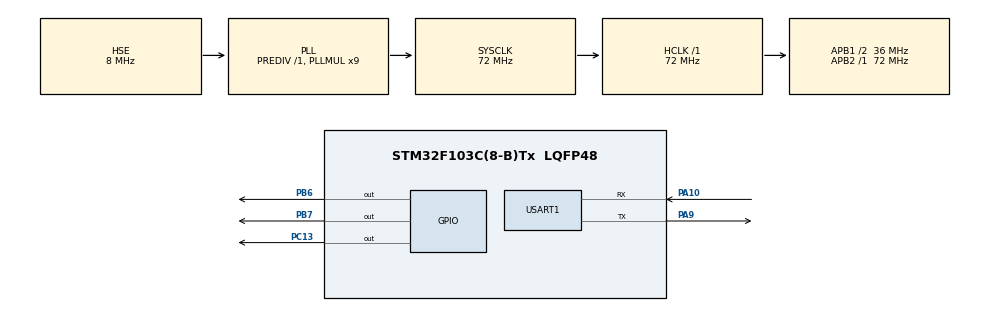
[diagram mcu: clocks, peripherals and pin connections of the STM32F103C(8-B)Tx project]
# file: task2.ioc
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Dma.Request0=USART1_RX
Dma.Request1=USART1_TX
Dma.USART1_RX.0.Direction=DMA_PERIPH_TO_MEMORY
Dma.USART1_RX.0.Instance=DMA1_Channel5
Dma.USART1_RX.0.MemDataAlignment=DMA_MDATAALIGN_BYTE
Dma.USART1_RX.0.MemInc=DMA_MINC_ENABLE
Dma.USART1_RX.0.Mode=DMA_NORMAL
Dma.USART1_RX.0.PeriphDataAlignment=DMA_PDATAALIGN_BYTE
Dma.USART1_RX.0.PeriphInc=DMA_PINC_DISABLE
Dma.USART1_RX.0.Priority=DMA_PRIORITY_LOW
Dma.USART1_TX.1.Direction=DMA_MEMORY_TO_PERIPH
Dma.USART1_TX.1.Instance=DMA1_Channel4
Dma.USART1_TX.1.MemDataAlignment=DMA_MDATAALIGN_BYTE
Dma.USART1_TX.1.MemInc=DMA_MINC_ENABLE
Dma.USART1_TX.1.Mode=DMA_NORMAL
Dma.USART1_TX.1.PeriphDataAlignment=DMA_PDATAALIGN_BYTE
Dma.USART1_TX.1.PeriphInc=DMA_PINC_DISABLE
Dma.USART1_TX.1.Priority=DMA_PRIORITY_LOW
FREERTOS.Queues01=usartsend,5,usart_datatosend,0,Dynamic,NULL,NULL
FREERTOS.Tasks01=usart1send,25,256,Startusart1sendTask,Default,NULL,Dynamic,NULL,NULL;mpu6050read,32,256,Startmpu6050readTask,Default,NULL,Dynamic,NULL,NULL;usart1receive,36,256,Startusart1receiveTask,Default,NULL,Dynamic,NULL,NULL
FREERTOS.configTOTAL_HEAP_SIZE=8192
Mcu.Family=STM32F1
Mcu.Name=STM32F103C(8-B)Tx
Mcu.Package=LQFP48
NVIC.DMA1_Channel4_IRQn=true\:5\:0\:false\:false\:true\:true\:false\:true
NVIC.DMA1_Channel5_IRQn=true\:5\:0\:false\:false\:true\:true\:false\:true
NVIC.PriorityGroup=NVIC_PRIORITYGROUP_4
NVIC.TIM4_IRQn=true\:15\:0\:false\:false\:true\:false\:false\:true
NVIC.TimeBase=TIM4_IRQn
NVIC.TimeBaseIP=TIM4
NVIC.USART1_IRQn=true\:5\:0\:false\:false\:true\:true\:true\:true
PA10.Mode=Asynchronous
PA10.Signal=USART1_RX
PA13.Mode=Serial_Wire
PA13.Signal=SYS_JTMS-SWDIO
PA14.Mode=Serial_Wire
PA14.Signal=SYS_JTCK-SWCLK
PA9.Mode=Asynchronous
PA9.Signal=USART1_TX
PB6.GPIO_ModeDefaultOutputPP=GPIO_MODE_OUTPUT_OD
PB6.GPIO_PuPd=GPIO_PULLUP
PB6.Signal=GPIO_Output
PB7.GPIO_ModeDefaultOutputPP=GPIO_MODE_OUTPUT_OD
PB7.GPIO_PuPd=GPIO_PULLUP
PB7.Signal=GPIO_Output
PC13-TAMPER-RTC.Signal=GPIO_Output
PC14-OSC32_IN.Mode=LSE-External-Oscillator
PC14-OSC32_IN.Signal=RCC_OSC32_IN
PC15-OSC32_OUT.Mode=LSE-External-Oscillator
PC15-OSC32_OUT.Signal=RCC_OSC32_OUT
PD0-OSC_IN.Mode=HSE-External-Oscillator
PD0-OSC_IN.Signal=RCC_OSC_IN
PD1-OSC_OUT.Mode=HSE-External-Oscillator
PD1-OSC_OUT.Signal=RCC_OSC_OUT
ProjectManager.HeapSize=0x200
ProjectManager.StackSize=0x400
ProjectManager.TargetToolchain=MDK-ARM V5.32
RCC.AHBFreq_Value=72000000
RCC.APB1CLKDivider=RCC_HCLK_DIV2
RCC.APB1Freq_Value=36000000
RCC.APB1TimFreq_Value=72000000
RCC.APB2Freq_Value=72000000
RCC.APB2TimFreq_Value=72000000
RCC.HCLKFreq_Value=72000000
RCC.PLLMUL=RCC_PLL_MUL9
RCC.PLLSourceVirtual=RCC_PLLSOURCE_HSE
RCC.SYSCLKFreq_VALUE=72000000
RCC.SYSCLKSource=RCC_SYSCLKSOURCE_PLLCLK
RCC.USBFreq_Value=72000000
USART1.VirtualMode=VM_ASYNC
VP_FREERTOS_VS_CMSIS_V2.Mode=CMSIS_V2
VP_SYS_VS_tim4.Mode=TIM4
board=custom

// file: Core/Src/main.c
/* USER CODE BEGIN Header */
/**
  ******************************************************************************
  * @file           : main.c
  * @brief          : Main program body
  ******************************************************************************
  * @attention
  *
  * <h2><center>&copy; Copyright (c) 2026 STMicroelectronics.
  * All rights reserved.</center></h2>
  *
  * This software component is licensed by ST under Ultimate Liberty license
  * SLA0044, the "License"; You may not use this file except in compliance with
  * the License. You may obtain a copy of the License at:
  *                             www.st.com/SLA0044
  *
  ******************************************************************************
  */
/* USER CODE END Header */
#include "main.h"
#include "cmsis_os.h"

/* USER CODE BEGIN Includes */
#include <string.h>
#include <math.h>
#include "inv_mpu.h"
#include "inv_mpu_dmp_motion_driver.h"
#include "sw_i2c.h"
#include <stdio.h>
/* ============================ USART1 收发逻辑（自 task1 迁移） ============================
 * 不定长接收 + DMA 发送，数据流：
 *   接收：DMA 收数据到缓冲池 → IDLE 中断收尾（算帧长 / 入队 / 切缓冲区）
 *         → 队列 usart1_receive_data 传缓冲区编号 → usart1receive 任务取数处理
 *   发送：usart1send 任务格式化 → DMA 发送（二值信号量 uart_tx_sem 防重入，
 *         TxCplt 回调释放）
 * ========================================================================================= */
/* USER CODE END Includes */

/* USER CODE BEGIN PTD */

/* 串口发送数据类型：mpu_pry=欧拉角，mpu_xyz=原始六轴 */
typedef enum {mpu_pry,mpu_xyz} usart_data_type ;

/* 欧拉角（单位：度） */
typedef struct
{
float pitch;
float roll;
float yaw;
} mpu6050_pry;

/* 六轴原始数据（陀螺仪 / 加速度计输出） */
typedef struct
{
short gyro[3];
short accel[3];
} mpu6050_xyz;

/* 串口待发送数据：type 决定联合体中装 xyz 还是 pry */
typedef struct
{
  usart_data_type type;
union
{
  mpu6050_xyz xyz;
  mpu6050_pry pry;
}data;

}usart_datatosend;

/* 串口命令类型（与 command_table 中的表项对应） */
typedef enum {mpu_mode_set} usart_command_type ;

/* 解析后的命令：命令类型 + 最多 2 个 int 参数 */
typedef struct
{
  usart_command_type type;
  int data[2];
}command;

/* USER CODE END PTD */

UART_HandleTypeDef huart1;
DMA_HandleTypeDef hdma_usart1_rx;
DMA_HandleTypeDef hdma_usart1_tx;

/* Definitions for usart1send */
osThreadId_t usart1sendHandle;
const osThreadAttr_t usart1send_attributes = {
  .name = "usart1send",
  .stack_size = 256 * 4,
  .priority = (osPriority_t) osPriorityNormal1,
};
/* Definitions for mpu6050read */
osThreadId_t mpu6050readHandle;
const osThreadAttr_t mpu6050read_attributes = {
  .name = "mpu6050read",
  .stack_size = 256 * 4,
  .priority = (osPriority_t) osPriorityAboveNormal,
};
/* Definitions for usart1receive */
osThreadId_t usart1receiveHandle;
const osThreadAttr_t usart1receive_attributes = {
  .name = "usart1receive",
  .stack_size = 256 * 4,
  .priority = (osPriority_t) osPriorityAboveNormal4,
};
/* Definitions for usartsend */
osMessageQueueId_t usartsendHandle;
const osMessageQueueAttr_t usartsend_attributes = {
  .name = "usartsend"
};
/* USER CODE BEGIN PV */

/*==================== USART1 DMA 接收缓冲池（自 task1 迁移） ====================*/
/* 环形缓冲池：5 个缓冲区轮流使用，DMA 写入其中一格，IDLE 中断收到一帧后
 * 切换到下一格，避免 DMA 覆盖任务尚未读完的数据 */
uint8_t usart1_receive_pool[5][33]={0};   // 接收缓冲池（每格 32 字节 + 1 字节余量）
uint8_t usart1_receive_len[5]={0};        // 各格本次实际接收的帧长（字节）
uint8_t usart1_receive_pool_idx=0;        // 当前 DMA 正在写入的格编号（0~4 环形递增）

/*==================== 队列 / 信号量句柄（在 main 中创建） ====================*/
/* IDLE 中断 → usart1receive：传递缓冲区编号（索引而非数据本体） */
osMessageQueueId_t usart1_receive_dataHandle;
/* UART 发送同步信号量：usart1send 发送前 acquire，DMA 发送完成中断里 release，
 * 保证同一时刻只有一次 DMA 发送在进行，防止新数据覆盖尚未发完的旧数据 */
osSemaphoreId_t uart_tx_sem;

volatile char mpu_usart_sendmode=0;// 0:发送原始数据 1:发送欧拉角
/* USER CODE END PV */

void SystemClock_Config(void);
static void MX_GPIO_Init(void);
static void MX_DMA_Init(void);
static void MX_USART1_UART_Init(void);
void Startusart1sendTask(void *argument);
void Startmpu6050readTask(void *argument);
void Startusart1receiveTask(void *argument);

int main(void)
{

  /* MCU Configuration--------------------------------------------------------*/

  /* Reset of all peripherals, Initializes the Flash interface and the Systick. */
  HAL_Init();

  /* Configure the system clock */
  SystemClock_Config();

  /* Initialize all configured peripherals */
  MX_GPIO_Init();
  MX_DMA_Init();
  MX_USART1_UART_Init();

  /* Init scheduler */
  osKernelInitialize();

  /* USER CODE BEGIN RTOS_SEMAPHORES */
  /* add semaphores, ... */
  /* 创建 UART 发送完成信号量：max=1、初值=1（二值信号量）
   * 用于 usart1send 任务与 DMA 发送完成中断之间的同步 */
  uart_tx_sem = osSemaphoreNew(1, 1, NULL);
  /* USER CODE END RTOS_SEMAPHORES */

  /* Create the queue(s) */
  /* creation of usartsend */
  usartsendHandle = osMessageQueueNew (5, sizeof(usart_datatosend), &usartsend_attributes);

  /* USER CODE BEGIN RTOS_QUEUES */
  /* add queues, ... */
  /* IDLE 中断 → usart1receive：传缓冲区编号（uint8_t，深度 3）
   * 队列满时非阻塞 put 直接丢帧，不阻塞 DMA 接收 */
  usart1_receive_dataHandle = osMessageQueueNew(3, sizeof(uint8_t), NULL);
  /* USER CODE END RTOS_QUEUES */

  /* Create the thread(s) */
  /* creation of usart1send */
  usart1sendHandle = osThreadNew(Startusart1sendTask, NULL, &usart1send_attributes);

  /* creation of mpu6050read */
  mpu6050readHandle = osThreadNew(Startmpu6050readTask, NULL, &mpu6050read_attributes);

  /* creation of usart1receive */
  usart1receiveHandle = osThreadNew(Startusart1receiveTask, NULL, &usart1receive_attributes);

  /* Start scheduler */
  osKernelStart();

  /* We should never get here as control is now taken by the scheduler */
  /* Infinite loop */
  while (1)
  {

  }
}

void SystemClock_Config(void)
{
  RCC_OscInitTypeDef RCC_OscInitStruct = {0};
  RCC_ClkInitTypeDef RCC_ClkInitStruct = {0};

  /** Initializes the RCC Oscillators according to the specified parameters
  * in the RCC_OscInitTypeDef structure.
  */
  RCC_OscInitStruct.OscillatorType = RCC_OSCILLATORTYPE_HSE;
  RCC_OscInitStruct.HSEState = RCC_HSE_ON;
  RCC_OscInitStruct.HSEPredivValue = RCC_HSE_PREDIV_DIV1;
  RCC_OscInitStruct.HSIState = RCC_HSI_ON;
  RCC_OscInitStruct.PLL.PLLState = RCC_PLL_ON;
  RCC_OscInitStruct.PLL.PLLSource = RCC_PLLSOURCE_HSE;
  RCC_OscInitStruct.PLL.PLLMUL = RCC_PLL_MUL9;
  if (HAL_RCC_OscConfig(&RCC_OscInitStruct) != HAL_OK)
  {
    Error_Handler();
  }
  /** Initializes the CPU, AHB and APB buses clocks
  */
  RCC_ClkInitStruct.ClockType = RCC_CLOCKTYPE_HCLK|RCC_CLOCKTYPE_SYSCLK
                              |RCC_CLOCKTYPE_PCLK1|RCC_CLOCKTYPE_PCLK2;
  RCC_ClkInitStruct.SYSCLKSource = RCC_SYSCLKSOURCE_PLLCLK;
  RCC_ClkInitStruct.AHBCLKDivider = RCC_SYSCLK_DIV1;
  RCC_ClkInitStruct.APB1CLKDivider = RCC_HCLK_DIV2;
  RCC_ClkInitStruct.APB2CLKDivider = RCC_HCLK_DIV1;

  if (HAL_RCC_ClockConfig(&RCC_ClkInitStruct, FLASH_LATENCY_2) != HAL_OK)
  {
    Error_Handler();
  }
}

static void MX_USART1_UART_Init(void)
{

  huart1.Instance = USART1;
  huart1.Init.BaudRate = 115200;
  huart1.Init.WordLength = UART_WORDLENGTH_8B;
  huart1.Init.StopBits = UART_STOPBITS_1;
  huart1.Init.Parity = UART_PARITY_NONE;
  huart1.Init.Mode = UART_MODE_TX_RX;
  huart1.Init.HwFlowCtl = UART_HWCONTROL_NONE;
  huart1.Init.OverSampling = UART_OVERSAMPLING_16;
  if (HAL_UART_Init(&huart1) != HAL_OK)
  {
    Error_Handler();
  }
  /* USER CODE BEGIN USART1_Init 2 */
  /* ============ USART1 空闲中断 + DMA 不定长接收（自 task1 迁移） ============ */
  /* 使能 IDLE 空闲中断：一帧收完后总线空闲（1 字节时间无新数据）即触发中断，
   * 收尾逻辑在 USART1_IRQHandler 里（详见 stm32f1xx_it.c） */
  __HAL_UART_ENABLE_IT(&huart1, UART_IT_IDLE);
  /* 启动 DMA 接收：单帧最多 32 字节，写入缓冲池当前格，实际帧长由 IDLE 中断算出 */
  HAL_UART_Receive_DMA(&huart1, usart1_receive_pool[usart1_receive_pool_idx], 32);
  /* USER CODE END USART1_Init 2 */

}

static void MX_DMA_Init(void)
{

  /* DMA controller clock enable */
  __HAL_RCC_DMA1_CLK_ENABLE();

  /* DMA interrupt init */
  /* DMA1_Channel4_IRQn interrupt configuration */
  HAL_NVIC_SetPriority(DMA1_Channel4_IRQn, 5, 0);
  HAL_NVIC_EnableIRQ(DMA1_Channel4_IRQn);
  /* DMA1_Channel5_IRQn interrupt configuration */
  HAL_NVIC_SetPriority(DMA1_Channel5_IRQn, 5, 0);
  HAL_NVIC_EnableIRQ(DMA1_Channel5_IRQn);

}

static void MX_GPIO_Init(void)
{
  GPIO_InitTypeDef GPIO_InitStruct = {0};

  /* GPIO Ports Clock Enable */
  __HAL_RCC_GPIOC_CLK_ENABLE();
  __HAL_RCC_GPIOD_CLK_ENABLE();
  __HAL_RCC_GPIOA_CLK_ENABLE();
  __HAL_RCC_GPIOB_CLK_ENABLE();

  /*Configure GPIO pin Output Level */
  HAL_GPIO_WritePin(GPIOC, GPIO_PIN_13, GPIO_PIN_RESET);

  /*Configure GPIO pin Output Level */
  HAL_GPIO_WritePin(GPIOB, GPIO_PIN_6|GPIO_PIN_7, GPIO_PIN_RESET);

  /*Configure GPIO pin : PC13 */
  GPIO_InitStruct.Pin = GPIO_PIN_13;
  GPIO_InitStruct.Mode = GPIO_MODE_OUTPUT_PP;
  GPIO_InitStruct.Pull = GPIO_NOPULL;
  GPIO_InitStruct.Speed = GPIO_SPEED_FREQ_LOW;
  HAL_GPIO_Init(GPIOC, &GPIO_InitStruct);

  /*Configure GPIO pins : PB6 PB7 */
  GPIO_InitStruct.Pin = GPIO_PIN_6|GPIO_PIN_7;
  GPIO_InitStruct.Mode = GPIO_MODE_OUTPUT_OD;
  GPIO_InitStruct.Pull = GPIO_PULLUP;
  GPIO_InitStruct.Speed = GPIO_SPEED_FREQ_LOW;
  HAL_GPIO_Init(GPIOB, &GPIO_InitStruct);

}

/* USER CODE BEGIN 4 */
/**
 * @brief USART1 DMA 发送完成回调（中断上下文，自 task1 迁移）
 *        一帧 DMA 发完后释放信号量，告知 usart1send 可以发起下一次发送
 */
void HAL_UART_TxCpltCallback(UART_HandleTypeDef *huart)
{
  if (huart->Instance == USART1)
  {
    osSemaphoreRelease(uart_tx_sem);   // 释放发送权，允许下一次 DMA 发送
  }
}

/* 命令表：命令名 → 命令类型的映射；新增命令在此加一行，并在任务里加处理分支 */
static const struct
{
  const char *name;
  usart_command_type type;
} command_table[] =
{
  {"mpu_mode_set", mpu_mode_set},
};

/**
 * @brief  解析串口命令行，格式 "/<命令名> <参数1> <参数2>"
 * @param  str 待解析字符串（须以 '/' 开头）
 * @param  cmd 解析结果输出（命令类型 + 两个 int 参数）
 * @retval 0 成功；-1 格式错误；-2 未知命令名
 */
int command_parse(const char *str, command *cmd)
{
  char name[32];
  int cnt, i;

  if (str == NULL || cmd == NULL)
    return -1;
  if (str[0] != '/')
    return -1;

  cmd->data[0] = 0;
  cmd->data[1] = 0;

  cnt = sscanf(str, "/%31s %d %d", name, &cmd->data[0], &cmd->data[1]);
  if (cnt < 1)
    return -1;

  for (i = 0; i < (int)(sizeof(command_table) / sizeof(command_table[0])); i++)
  {
    if (strcmp(name, command_table[i].name) == 0)
    {
      cmd->type = command_table[i].type;
      return 0;
    }
  }
  return -2;
}
/* USER CODE END 4 */

void Startusart1sendTask(void *argument)
{
  /* USER CODE BEGIN 5 */
  uint8_t tosend[64] = {0}; // 发送缓冲：格式化后的待发字符串
  uint16_t tosend_len = 0;  // 发送长度（字节）
  usart_datatosend datatosend;
  /* Infinite loop */
  for (;;)
  {
    osMessageQueueGet(usartsendHandle, &datatosend, NULL, HAL_MAX_DELAY); // 阻塞等待 mpu 任务产出数据

    /* 按数据类型格式化：原始模式 "g0,g1,g2,a0,a1,a2\n"，欧拉角模式 "pitch,roll,yaw\n" */
    if (datatosend.type == mpu_xyz)
      tosend_len = (uint16_t)sprintf((char *)tosend, "%d,%d,%d,%d,%d,%d\n",
                                     datatosend.data.xyz.gyro[0], datatosend.data.xyz.gyro[1], datatosend.data.xyz.gyro[2],
                                     datatosend.data.xyz.accel[0], datatosend.data.xyz.accel[1], datatosend.data.xyz.accel[2]);
    else
      tosend_len = (uint16_t)sprintf((char *)tosend, "%.2f,%.2f,%.2f\n",
                                     datatosend.data.pry.pitch, datatosend.data.pry.roll, datatosend.data.pry.yaw);

    /* 拿到发送权（确保上一次 DMA 已发完）再启动本次 DMA 发送 */
    osSemaphoreAcquire(uart_tx_sem, HAL_MAX_DELAY);

    HAL_UART_Transmit_DMA(&huart1, tosend, tosend_len);
  }
  /* USER CODE END 5 */
}

void Startmpu6050readTask(void *argument)
{
  /* USER CODE BEGIN Startmpu6050readTask */
  /* ====== 初始化 ====== */
  sw_i2c_init();                                      // 软件 I2C（PB6/PB7，开漏+上拉）

  struct int_param_s int_param = {0};
  mpu_init(&int_param);                               // 复位并唤醒 MPU6050
  mpu_set_sensors(INV_XYZ_GYRO | INV_XYZ_ACCEL);      // 使能六轴传感器
  mpu_configure_fifo(INV_XYZ_GYRO | INV_XYZ_ACCEL);   // FIFO 存六轴原始数据
  mpu_set_sample_rate(200);                           // 采样率 200Hz

  dmp_load_motion_driver_firmware();                  // 加载 DMP 固件
  dmp_enable_feature(DMP_FEATURE_6X_LP_QUAT | DMP_FEATURE_GYRO_CAL |
                     DMP_FEATURE_SEND_RAW_ACCEL | DMP_FEATURE_SEND_RAW_GYRO); // 四元数+陀螺校准+输出原始数据
  dmp_set_fifo_rate(200);                             // DMP 输出速率 200Hz（与采样率一致）
  mpu_set_dmp_state(1);                               // 启动 DMP 运算，开始向 FIFO 写数据

  /* ====== 循环读取 ====== */
  mpu6050_xyz xyz;          // 六轴原始数据：陀螺仪 + 加速度计
  mpu6050_pry pry;          // 解算后的欧拉角（度）
  usart_datatosend tosend;  // 发给 usart1send 任务的消息
  short sensors;            // dmp_read_fifo 输出：本包携带的数据类型标志
  unsigned char more;       // dmp_read_fifo 输出：FIFO 中剩余包数
  long quat[4];             // DMP 输出的四元数（Q30 定点数）
  unsigned long timestamp;  // DMP 时间戳（未使用）
  uint32_t tick = osKernelGetTickCount(); // 周期调度的起点

  for (;;)
  {
    tick += 5;
    osDelayUntil(tick);

    /* ===== 排空式读取 =====
     * MPU6050 与 STM32 两颗晶振存在微小速率差，FIFO 会缓慢积压；
     * 每周期把积压的包全部读出（上限 4 包），只保留最新一包，
     * 使 fifo_count 永远到不了溢出门槛，避开 mpu_reset_fifo 的 DMP_RST 死路 */
    uint8_t pkt_cnt = 0;
    while (pkt_cnt < 4 &&
           dmp_read_fifo(xyz.gyro, xyz.accel, quat, &timestamp, &sensors, &more) == 0)
    {
      pkt_cnt++;
      if (more == 0)              /* FIFO 已空，提前收工 */
        break;
    }

    if (pkt_cnt > 0)              /* 本周期拿到过数据才发送 */
    {
      /* 四元数转欧拉角（度） */
      float q0 = quat[0] / 1073741824.0f; // / 2^30
      float q1 = quat[1] / 1073741824.0f;
      float q2 = quat[2] / 1073741824.0f;
      float q3 = quat[3] / 1073741824.0f;

      /* 原始数据：xyz.gyro[0~2] 角速度，xyz.accel[0~2] 加速度 */
      /* 欧拉角结果写入结构体 */
      pry.pitch = asin(-2 * q1 * q3 + 2 * q0 * q2) * 57.29578f;
      pry.roll = atan2(2 * q2 * q3 + 2 * q0 * q1, -2 * q1 * q1 - 2 * q2 * q2 + 1) * 57.29578f;
      pry.yaw = atan2(2 * (q1 * q2 + q0 * q3), q0 * q0 - q1 * q1 - q2 * q2 + q3 * q3) * 57.29578f;
      /* 按当前发送模式选择数据内容：0=原始六轴 1=欧拉角 */
      if (mpu_usart_sendmode == 0)
      {
        tosend.type = mpu_xyz;
        tosend.data.xyz = xyz;
      }
      else
      {
        tosend.type = mpu_pry;
        tosend.data.pry = pry;
      }
      osMessageQueuePut(usartsendHandle, &tosend, 0, 0);
    }
  }
  /* USER CODE END Startmpu6050readTask */
}

void Startusart1receiveTask(void *argument)
{
  /* USER CODE BEGIN Startusart1receiveTask */
  uint8_t *receive;    // 指向本帧所在的缓冲区
  uint8_t receive_idx; // 缓冲区编号（IDLE 中断经队列传来）
  uint8_t receive_len; // 本帧实际长度（字节）
  char cmdbuf[34];     // 帧内容副本（补 '\0' 后供字符串解析）
  command cmd;         // 解析结果

  for (;;)
  {
    /* 阻塞等待 IDLE 中断投递的缓冲区编号 */
    osMessageQueueGet(usart1_receive_dataHandle, &receive_idx, NULL, HAL_MAX_DELAY);
    receive = usart1_receive_pool[receive_idx];
    receive_len = usart1_receive_len[receive_idx];

    if (receive_len > 32)
      receive_len = 32;
    memcpy(cmdbuf, receive, receive_len);
    cmdbuf[receive_len] = '\0';

    if (command_parse(cmdbuf, &cmd) == 0)
    {
      switch (cmd.type)
      {
      case mpu_mode_set:
        mpu_usart_sendmode = (char)cmd.data[0]; // 切换发送模式
        break;
      default:
        break;
      }
    }
  }
  /* USER CODE END Startusart1receiveTask */
}

void HAL_TIM_PeriodElapsedCallback(TIM_HandleTypeDef *htim)
{
  if (htim->Instance == TIM4) {
    HAL_IncTick();
  }
}

void Error_Handler(void)
{
  __disable_irq();
  while (1)
  {
  }
}

/************************ (C) COPYRIGHT STMicroelectronics *****END OF FILE****/
